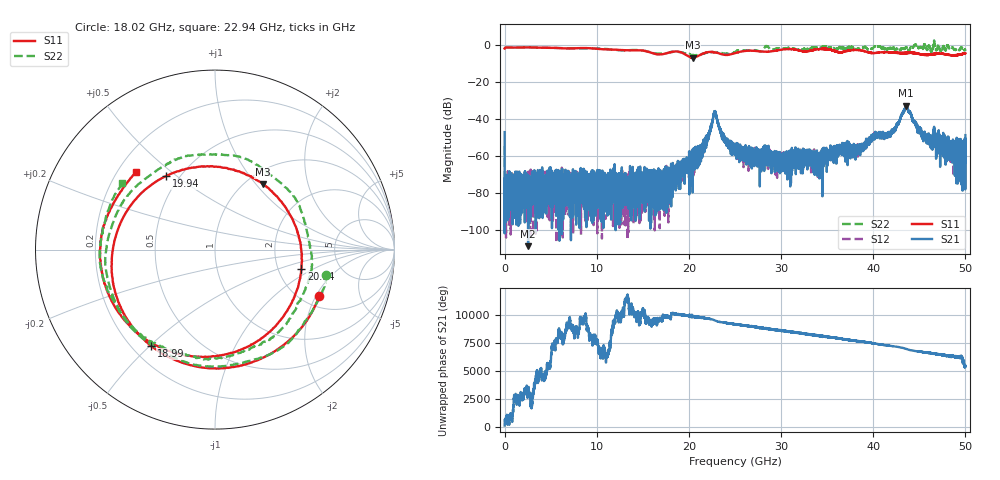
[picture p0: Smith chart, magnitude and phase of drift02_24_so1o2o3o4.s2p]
!Created with skrf (http://scikit-rf.org).
# Hz S RI R 50.0
!freq ReS11 ImS11 ReS21 ImS21 ReS12 ImS12 ReS22 ImS22
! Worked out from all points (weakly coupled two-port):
!   10001 points, 300 kHz to 50 GHz, reference 50 ohm
!   highest |S21| = -32.94 dB at 43.57 GHz (marker M1); lowest = -108.9 dB at 2.55 GHz (marker M2)
!   lowest |S11| = -6.9 dB at 20.44 GHz (marker M3), VSWR 2.64, Z = 59.5 + j54.2 ohm
!   |S11| at or under -10 dB: nowhere
!   |S22| runs from -5.7 to 2.4 dB; largest |S21 - S12| = 0.0053
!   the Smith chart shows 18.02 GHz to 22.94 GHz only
!   S11 on the Smith chart (normalised r, x): 18.02 GHz: 2.47, -2.13; 18.99 GHz: 0.28, -0.50; 19.94 GHz: 0.42, +0.46; 20.94 GHz: 2.69, -0.77; 22.94 GHz: 0.28, +0.38
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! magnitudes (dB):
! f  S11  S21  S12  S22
! 300 kHz  -2.1  -47.2  -54.7  -2.1
! 255.3 MHz  -1.4  -71.9  -81.1  -1.4
! 2.55 GHz  -1.4  -108.9  -81.4  -1.3
! 8.335 GHz  -1.7  -76.4  -79.0  -1.9
! 16.67 GHz  -5.2  -74.6  -81.9  -4.7
! 18.02 GHz  -3.9  -67.4  -73.7  -3.9
! 18.99 GHz  -3.8  -66.6  -67.8  -3.9
! 19.94 GHz  -6.2  -63.8  -65.4  -5.2
! 20.44 GHz  -6.9  -60.1  -64.1  -5.4
! 20.94 GHz  -6.2  -58.2  -64.4  -5.6
! 22.94 GHz  -4.2  -37.5  -37.5  -3.9
! 23.77 GHz  -5.3  -49.6  -49.3  -4.7
! 25 GHz  -4.5  -59.3  -59.0  -3.9
! 29.61 GHz  -3.0  -59.7  -62.3  -2.1
! 33.34 GHz  -3.0  -64.4  -62.0  -1.6
! 38.01 GHz  -2.8  -57.8  -56.5  -2.0
! 40.16 GHz  -4.4  -48.4  -48.7  -0.7
! 41.67 GHz  -4.0  -49.3  -48.6  -1.9
! 43.57 GHz  -4.4  -32.9  -33.0  -1.4
! 45.91 GHz  -5.4  -52.2  -51.0  -1.9
! 49.68 GHz  -5.0  -61.4  -57.2  -1.9
! 50 GHz  -4.6  -48.8  -69.4  -2.6
